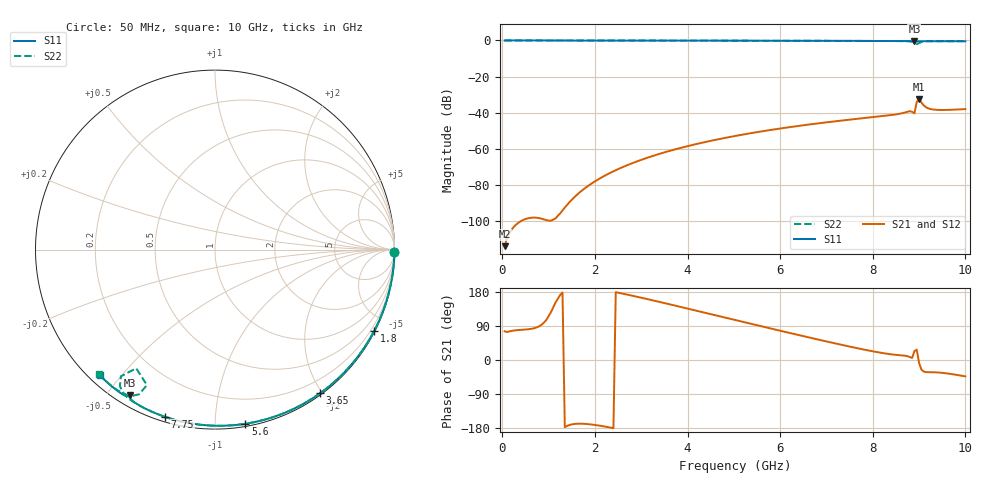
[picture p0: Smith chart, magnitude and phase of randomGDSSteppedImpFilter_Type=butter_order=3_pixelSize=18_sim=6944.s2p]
! freq	dB(S11)	phase(S11)	dB(S12)	phase(S12)
!  dB(S21)	phase(S21)	dB(S22)	phase(S22)
!S-par simulation data
#  GHz  S  DB  R 50
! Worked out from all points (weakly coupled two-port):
!   200 points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, 50 MHz to 10 GHz, reference 50 ohm
!   highest |S21| = -32.52 dB at 9 GHz (marker M1); lowest = -113.9 dB at 50 MHz (marker M2)
!   lowest |S11| = -0.5 dB at 8.9 GHz (marker M3), VSWR 31.78, Z = 2.09 - j28.7 ohm
!   |S11| at or under -10 dB: nowhere
!   |S22| runs from -2.0 to 0.0 dB; largest |S21 - S12| = 0
!   S11 on the Smith chart (normalised r, x): 50 MHz: open; 1.8 GHz: 0.04, -4.13; 3.65 GHz: 0.02, -1.97; 5.6 GHz: 0.02, -1.19; 7.75 GHz: 0.02, -0.74; 10 GHz: 0.03, -0.44
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0.05  -0.00 -0.8  -113.88 75.7  -113.88 75.7  -0.00 -0.8
0.9  -0.02 -13.7  -99.08 98.8  -99.08 98.8  -0.02 -13.8
1.75  -0.03 -26.5  -82.47 -168.3  -82.47 -168.3  -0.03 -26.7
1.8  -0.03 -27.2  -81.49 -168.7  -81.49 -168.7  -0.03 -27.4
1.9  -0.04 -28.7  -79.68 -169.8  -79.68 -169.8  -0.04 -28.9
2.25  -0.04 -33.8  -74.35 -176.4  -74.35 -176.4  -0.04 -34.1
2.65  -0.05 -39.7  -69.56 173.9  -69.56 173.9  -0.05 -39.9
3.4  -0.07 -50.4  -62.73 153.1  -62.73 153.1  -0.07 -50.7
3.65  -0.07 -53.9  -60.87 145.9  -60.87 145.9  -0.07 -54.3
5.05  -0.11 -72.9  -52.77 104.9  -52.77 104.9  -0.11 -73.4
5.6  -0.13 -80.1  -50.33 88.8  -50.33 88.8  -0.13 -80.7
6.7  -0.18 -93.9  -46.28 57.3  -46.28 57.3  -0.18 -94.7
7.75  -0.25 -106.7  -43.15 29.0  -43.15 29.0  -0.25 -107.8
8.35  -0.29 -113.9  -41.47 15.7  -41.47 15.7  -0.30 -115.4
8.8  -0.40 -119.6  -39.13 7.9  -39.13 7.9  -0.50 -123.2
8.9  -0.55 -120.3  -40.32 23.5  -40.32 23.5  -1.12 -126.6
8.95  -0.53 -120.1  -33.96 27.4  -33.96 27.4  -2.00 -123.6
9  -0.45 -120.5  -32.52 -7.9  -32.52 -7.9  -1.47 -116.7
9.1  -0.39 -121.8  -35.95 -30.5  -35.95 -30.5  -0.59 -119.4
9.25  -0.38 -123.7  -37.98 -32.3  -37.98 -32.3  -0.43 -122.9
9.5  -0.40 -126.7  -38.50 -33.9  -38.50 -33.9  -0.42 -126.8
10  -0.45 -132.5  -37.99 -43.3  -37.99 -43.3  -0.46 -133.1
